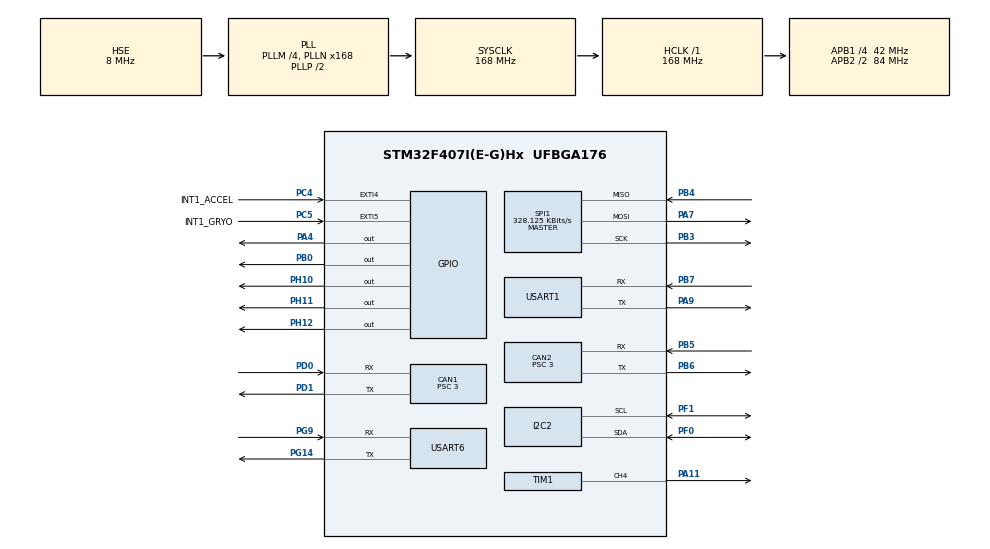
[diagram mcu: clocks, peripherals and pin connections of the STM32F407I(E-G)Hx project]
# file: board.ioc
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CAN1.BS1=CAN_BS1_10TQ
CAN1.BS2=CAN_BS2_3TQ
CAN1.CalculateBaudRate=1000000
CAN1.CalculateTimeBit=1000
CAN1.CalculateTimeQuantum=71.42857142857143
CAN1.Prescaler=3
CAN2.BS1=CAN_BS1_10TQ
CAN2.BS2=CAN_BS2_3TQ
CAN2.CalculateBaudRate=1000000
CAN2.CalculateTimeBit=1000
CAN2.CalculateTimeQuantum=71.42857142857143
CAN2.Prescaler=3
Dma.Request0=USART1_RX
Dma.Request1=USART1_TX
Dma.Request2=USART6_RX
Dma.Request3=USART6_TX
Dma.USART1_RX.0.Direction=DMA_PERIPH_TO_MEMORY
Dma.USART1_RX.0.FIFOMode=DMA_FIFOMODE_DISABLE
Dma.USART1_RX.0.Instance=DMA2_Stream2
Dma.USART1_RX.0.MemDataAlignment=DMA_MDATAALIGN_BYTE
Dma.USART1_RX.0.MemInc=DMA_MINC_ENABLE
Dma.USART1_RX.0.Mode=DMA_NORMAL
Dma.USART1_RX.0.PeriphDataAlignment=DMA_PDATAALIGN_BYTE
Dma.USART1_RX.0.PeriphInc=DMA_PINC_DISABLE
Dma.USART1_RX.0.Priority=DMA_PRIORITY_LOW
Dma.USART1_TX.1.Direction=DMA_MEMORY_TO_PERIPH
Dma.USART1_TX.1.FIFOMode=DMA_FIFOMODE_DISABLE
Dma.USART1_TX.1.Instance=DMA2_Stream7
Dma.USART1_TX.1.MemDataAlignment=DMA_MDATAALIGN_BYTE
Dma.USART1_TX.1.MemInc=DMA_MINC_ENABLE
Dma.USART1_TX.1.Mode=DMA_NORMAL
Dma.USART1_TX.1.PeriphDataAlignment=DMA_PDATAALIGN_BYTE
Dma.USART1_TX.1.PeriphInc=DMA_PINC_DISABLE
Dma.USART1_TX.1.Priority=DMA_PRIORITY_LOW
Dma.USART6_RX.2.Direction=DMA_PERIPH_TO_MEMORY
Dma.USART6_RX.2.FIFOMode=DMA_FIFOMODE_DISABLE
Dma.USART6_RX.2.Instance=DMA2_Stream1
Dma.USART6_RX.2.MemDataAlignment=DMA_MDATAALIGN_BYTE
Dma.USART6_RX.2.MemInc=DMA_MINC_ENABLE
Dma.USART6_RX.2.Mode=DMA_NORMAL
Dma.USART6_RX.2.PeriphDataAlignment=DMA_PDATAALIGN_BYTE
Dma.USART6_RX.2.PeriphInc=DMA_PINC_DISABLE
Dma.USART6_RX.2.Priority=DMA_PRIORITY_LOW
Dma.USART6_TX.3.Direction=DMA_MEMORY_TO_PERIPH
Dma.USART6_TX.3.FIFOMode=DMA_FIFOMODE_DISABLE
Dma.USART6_TX.3.Instance=DMA2_Stream6
Dma.USART6_TX.3.MemDataAlignment=DMA_MDATAALIGN_BYTE
Dma.USART6_TX.3.MemInc=DMA_MINC_ENABLE
Dma.USART6_TX.3.Mode=DMA_NORMAL
Dma.USART6_TX.3.PeriphDataAlignment=DMA_PDATAALIGN_BYTE
Dma.USART6_TX.3.PeriphInc=DMA_PINC_DISABLE
Dma.USART6_TX.3.Priority=DMA_PRIORITY_LOW
Mcu.Family=STM32F4
Mcu.Name=STM32F407I(E-G)Hx
Mcu.Package=UFBGA176
NVIC.CAN1_RX0_IRQn=true\:0\:0\:false\:false\:true\:false\:true\:true\:true
NVIC.CAN1_TX_IRQn=true\:0\:0\:false\:false\:true\:false\:true\:true\:true
NVIC.CAN2_RX0_IRQn=true\:0\:0\:false\:false\:true\:false\:true\:true\:true
NVIC.CAN2_TX_IRQn=true\:0\:0\:false\:false\:true\:false\:true\:true\:true
NVIC.DMA2_Stream1_IRQn=true\:0\:0\:false\:false\:true\:false\:false\:true\:true
NVIC.DMA2_Stream2_IRQn=true\:0\:0\:false\:false\:true\:false\:false\:true\:true
NVIC.DMA2_Stream6_IRQn=true\:0\:0\:false\:false\:true\:false\:false\:true\:true
NVIC.DMA2_Stream7_IRQn=true\:0\:0\:false\:false\:true\:false\:false\:true\:true
NVIC.EXTI4_IRQn=true\:0\:0\:false\:false\:true\:false\:true\:true\:true
NVIC.EXTI9_5_IRQn=true\:0\:0\:false\:false\:true\:false\:true\:true\:true
NVIC.PriorityGroup=NVIC_PRIORITYGROUP_4
NVIC.TIM2_IRQn=true\:15\:0\:false\:false\:true\:false\:false\:true\:true
NVIC.TimeBase=TIM2_IRQn
NVIC.TimeBaseIP=TIM2
PA11.Signal=S_TIM1_CH4
PA13.Mode=Serial_Wire
PA13.Signal=SYS_JTMS-SWDIO
PA14.Mode=Serial_Wire
PA14.Signal=SYS_JTCK-SWCLK
PA4.GPIO_Speed=GPIO_SPEED_FREQ_HIGH
PA4.PinState=GPIO_PIN_SET
PA4.Signal=GPIO_Output
PA7.Mode=Full_Duplex_Master
PA7.Signal=SPI1_MOSI
PA9.Mode=Asynchronous
PA9.Signal=USART1_TX
PB0.GPIO_Speed=GPIO_SPEED_FREQ_HIGH
PB0.PinState=GPIO_PIN_SET
PB0.Signal=GPIO_Output
PB3.Mode=Full_Duplex_Master
PB3.Signal=SPI1_SCK
PB4.Mode=Full_Duplex_Master
PB4.Signal=SPI1_MISO
PB5.Mode=CAN_Activate
PB5.Signal=CAN2_RX
PB6.Mode=CAN_Activate
PB6.Signal=CAN2_TX
PB7.Mode=Asynchronous
PB7.Signal=USART1_RX
PC4.GPIO_Label=INT1_ACCEL
PC4.GPIO_ModeDefaultEXTI=GPIO_MODE_IT_FALLING
PC4.GPIO_PuPd=GPIO_PULLUP
PC4.Signal=GPXTI4
PC5.GPIO_Label=INT1_GRYO
PC5.GPIO_ModeDefaultEXTI=GPIO_MODE_IT_FALLING
PC5.GPIO_PuPd=GPIO_PULLUP
PC5.Signal=GPXTI5
PD0.Mode=CAN_Activate
PD0.Signal=CAN1_RX
PD1.Mode=CAN_Activate
PD1.Signal=CAN1_TX
PE9.Signal=S_TIM1_CH1
PF0.Mode=I2C
PF0.Signal=I2C2_SDA
PF1.Mode=I2C
PF1.Signal=I2C2_SCL
PG14.Mode=Asynchronous
PG14.Signal=USART6_TX
PG9.Mode=Asynchronous
PG9.Signal=USART6_RX
PH0-OSC_IN.Mode=HSE-External-Oscillator
PH0-OSC_IN.Signal=RCC_OSC_IN
PH1-OSC_OUT.Mode=HSE-External-Oscillator
PH1-OSC_OUT.Signal=RCC_OSC_OUT
PH10.PinState=GPIO_PIN_SET
PH10.Signal=GPIO_Output
PH11.PinState=GPIO_PIN_SET
PH11.Signal=GPIO_Output
PH12.PinState=GPIO_PIN_SET
PH12.Signal=GPIO_Output
ProjectManager.HeapSize=0x200
ProjectManager.StackSize=0x400
ProjectManager.TargetToolchain=CMake
RCC.48MHZClocksFreq_Value=84000000
RCC.AHBFreq_Value=168000000
RCC.APB1CLKDivider=RCC_HCLK_DIV4
RCC.APB1Freq_Value=42000000
RCC.APB1TimFreq_Value=84000000
RCC.APB2CLKDivider=RCC_HCLK_DIV2
RCC.APB2Freq_Value=84000000
RCC.APB2TimFreq_Value=168000000
RCC.CortexFreq_Value=168000000
RCC.HCLKFreq_Value=168000000
RCC.HSE_VALUE=8000000
RCC.HSI_VALUE=16000000
RCC.LSE_VALUE=32768
RCC.PLLM=4
RCC.PLLN=168
RCC.PLLSourceVirtual=RCC_PLLSOURCE_HSE
RCC.SYSCLKFreq_VALUE=168000000
RCC.SYSCLKSource=RCC_SYSCLKSOURCE_PLLCLK
RCC.VCOOutputFreq_Value=336000000
SH.S_TIM1_CH1.0=TIM1_CH1
SH.S_TIM1_CH4.0=TIM1_CH4,PWM Generation4 CH4
SPI1.BaudRatePrescaler=SPI_BAUDRATEPRESCALER_256
SPI1.CLKPhase=SPI_PHASE_2EDGE
SPI1.CLKPolarity=SPI_POLARITY_HIGH
SPI1.CalculateBaudRate=328.125 KBits/s
SPI1.Direction=SPI_DIRECTION_2LINES
SPI1.Mode=SPI_MODE_MASTER
SPI1.VirtualType=VM_MASTER
STMicroelectronics.X-CUBE-AZRTOS-F4.1.1.0.TX_DISABLE_REDUNDANT_CLEARING=1
STMicroelectronics.X-CUBE-AZRTOS-F4.1.1.0.TX_DISABLE_STACK_FILLING=1
STMicroelectronics.X-CUBE-AZRTOS-F4.1.1.0.TX_INLINE_THREAD_RESUME_SUSPEND=1
STMicroelectronics.X-CUBE-AZRTOS-F4.1.1.0.TX_NOT_INTERRUPTABLE=1
STMicroelectronics.X-CUBE-AZRTOS-F4.1.1.0.TX_REACTIVATE_INLINE=1
STMicroelectronics.X-CUBE-AZRTOS-F4.1.1.0.TX_TIMER_PROCESS_IN_ISR=1
STMicroelectronics.X-CUBE-AZRTOS-F4.1.1.0.TX_TIMER_TICKS_PER_SECOND=1000
STMicroelectronics.X-CUBE-AZRTOS-F4.1.1.0.ThreadXCcRTOSJjThreadXJjCore=true
STMicroelectronics.X-CUBE-AZRTOS-F4.1.1.0_IsAnAzureRtosMw=true
TIM1.Channel-PWM\ Generation4\ CH4=TIM_CHANNEL_4
TIM1.Period=250-1
TIM1.Prescaler=84-1
TIM1.Pulse-PWM\ Generation4\ CH4=125
USART1.VirtualMode=VM_ASYNC
USART6.VirtualMode=VM_ASYNC
VP_STMicroelectronics.X-CUBE-AZRTOS-F4_VS_RTOSJjThreadX_6.1.10_1.1.0.Mode=RTOSJjThreadX
VP_SYS_VS_tim2.Mode=TIM2
VP_TIM1_VS_ClockSourceINT.Mode=Internal
board=custom

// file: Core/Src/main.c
/* USER CODE BEGIN Header */
/**
  ******************************************************************************
  * @file           : main.c
  * @brief          : Main program body
  ******************************************************************************
  * @attention
  *
  * Copyright (c) 2026 STMicroelectronics.
  * All rights reserved.
  *
  * This software is licensed under terms that can be found in the LICENSE file
  * in the root directory of this software component.
  * If no LICENSE file comes with this software, it is provided AS-IS.
  *
  ******************************************************************************
  */
/* USER CODE END Header */
#include "app_threadx.h"
#include "main.h"
#include "can.h"
#include "dma.h"
#include "i2c.h"
#include "spi.h"
#include "tim.h"
#include "usart.h"
#include "gpio.h"

/* USER CODE BEGIN Includes */
//#include "threads.hpp"
#include "main.h"
#include "tx_api.h" // 必须包含这个，不然 TX_THREAD 不认识

// 下面这段就是暴力告诉 C 编译器，这些东西在别的 C++ 文件里存在
extern TX_THREAD imu_thread;
extern uint8_t imu_thread_stack[2048];

extern TX_THREAD control_thread;
extern uint8_t control_thread_stack[2048];

extern TX_THREAD alive_thread;
extern uint8_t alive_thread_stack[1024];

extern TX_SEMAPHORE imu_semaphore;

void imu_thread_entry(ULONG thread_input);
void control_thread_entry(ULONG thread_input);
void alive_thread_entry(ULONG thread_input);
/* USER CODE END Includes */

void SystemClock_Config(void);

int main(void)
{

  /* MCU Configuration--------------------------------------------------------*/

  /* Reset of all peripherals, Initializes the Flash interface and the Systick. */
  HAL_Init();

  /* Configure the system clock */
  SystemClock_Config();

  /* Initialize all configured peripherals */
  MX_GPIO_Init();
  MX_DMA_Init();
  MX_CAN1_Init();
  MX_CAN2_Init();
  MX_I2C2_Init();
  MX_SPI1_Init();
  MX_TIM1_Init();
  MX_USART1_UART_Init();
  MX_USART6_UART_Init();
  /* USER CODE BEGIN 2 */
  // 1. 创建信号量
tx_semaphore_create(&imu_semaphore, "IMU_Sem", 0);

// 2. 创建三个线程
tx_thread_create(&imu_thread, "IMU Thread", imu_thread_entry, 0,
                 imu_thread_stack, sizeof(imu_thread_stack),
                 10, 10, TX_NO_TIME_SLICE, TX_AUTO_START);

tx_thread_create(&control_thread, "Control Thread", control_thread_entry, 0,
                 control_thread_stack, sizeof(control_thread_stack),
                 9, 9, TX_NO_TIME_SLICE, TX_AUTO_START);

tx_thread_create(&alive_thread, "Alive Thread", alive_thread_entry, 0,
                 alive_thread_stack, sizeof(alive_thread_stack),
                 15, 15, TX_NO_TIME_SLICE, TX_AUTO_START);
  /* USER CODE END 2 */

  MX_ThreadX_Init();

  /* We should never get here as control is now taken by the scheduler */

  /* Infinite loop */
  while (1)
  {

  }
}

void SystemClock_Config(void)
{
  RCC_OscInitTypeDef RCC_OscInitStruct = {0};
  RCC_ClkInitTypeDef RCC_ClkInitStruct = {0};

  /** Configure the main internal regulator output voltage
  */
  __HAL_RCC_PWR_CLK_ENABLE();
  __HAL_PWR_VOLTAGESCALING_CONFIG(PWR_REGULATOR_VOLTAGE_SCALE1);

  /** Initializes the RCC Oscillators according to the specified parameters
  * in the RCC_OscInitTypeDef structure.
  */
  RCC_OscInitStruct.OscillatorType = RCC_OSCILLATORTYPE_HSE;
  RCC_OscInitStruct.HSEState = RCC_HSE_ON;
  RCC_OscInitStruct.PLL.PLLState = RCC_PLL_ON;
  RCC_OscInitStruct.PLL.PLLSource = RCC_PLLSOURCE_HSE;
  RCC_OscInitStruct.PLL.PLLM = 4;
  RCC_OscInitStruct.PLL.PLLN = 168;
  RCC_OscInitStruct.PLL.PLLP = RCC_PLLP_DIV2;
  RCC_OscInitStruct.PLL.PLLQ = 4;
  if (HAL_RCC_OscConfig(&RCC_OscInitStruct) != HAL_OK)
  {
    Error_Handler();
  }

  /** Initializes the CPU, AHB and APB buses clocks
  */
  RCC_ClkInitStruct.ClockType = RCC_CLOCKTYPE_HCLK|RCC_CLOCKTYPE_SYSCLK
                              |RCC_CLOCKTYPE_PCLK1|RCC_CLOCKTYPE_PCLK2;
  RCC_ClkInitStruct.SYSCLKSource = RCC_SYSCLKSOURCE_PLLCLK;
  RCC_ClkInitStruct.AHBCLKDivider = RCC_SYSCLK_DIV1;
  RCC_ClkInitStruct.APB1CLKDivider = RCC_HCLK_DIV4;
  RCC_ClkInitStruct.APB2CLKDivider = RCC_HCLK_DIV2;

  if (HAL_RCC_ClockConfig(&RCC_ClkInitStruct, FLASH_LATENCY_5) != HAL_OK)
  {
    Error_Handler();
  }
}

void HAL_TIM_PeriodElapsedCallback(TIM_HandleTypeDef *htim)
{
  if (htim->Instance == TIM2)
  {
    HAL_IncTick();
  }
}

void Error_Handler(void)
{
  __disable_irq();
  while (1)
  {
  }
}
